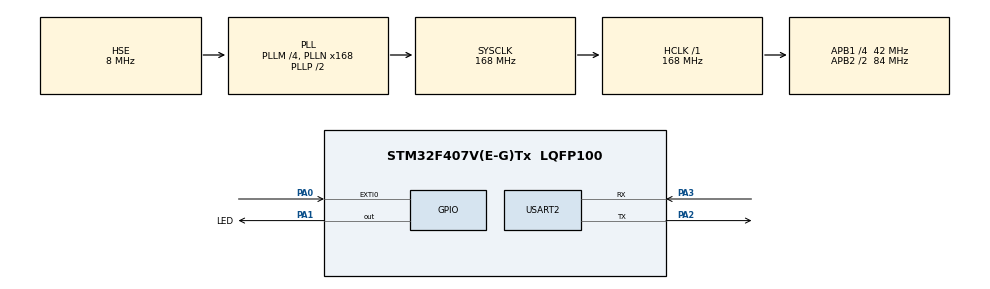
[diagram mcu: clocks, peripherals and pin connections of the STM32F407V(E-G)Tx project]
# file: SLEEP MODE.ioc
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Mcu.Family=STM32F4
Mcu.Name=STM32F407V(E-G)Tx
Mcu.Package=LQFP100
NVIC.EXTI0_IRQn=true\:0\:0\:false\:false\:true\:true\:true
NVIC.PriorityGroup=NVIC_PRIORITYGROUP_4
NVIC.USART2_IRQn=true\:0\:0\:false\:false\:true\:true\:true
PA0-WKUP.GPIO_PuPd=GPIO_PULLDOWN
PA0-WKUP.Signal=GPXTI0
PA1.GPIO_Label=LED
PA1.Signal=GPIO_Output
PA13.Mode=Trace_Asynchronous_SW
PA13.Signal=SYS_JTMS-SWDIO
PA14.Mode=Trace_Asynchronous_SW
PA14.Signal=SYS_JTCK-SWCLK
PA2.Mode=Asynchronous
PA2.Signal=USART2_TX
PA3.Mode=Asynchronous
PA3.Signal=USART2_RX
PB3.Mode=Trace_Asynchronous_SW
PB3.Signal=SYS_JTDO-SWO
PH0-OSC_IN.Mode=HSE-External-Oscillator
PH0-OSC_IN.Signal=RCC_OSC_IN
PH1-OSC_OUT.Mode=HSE-External-Oscillator
PH1-OSC_OUT.Signal=RCC_OSC_OUT
ProjectManager.HeapSize=0x200
ProjectManager.StackSize=0x400
ProjectManager.TargetToolchain=STM32CubeIDE
RCC.48MHZClocksFreq_Value=84000000
RCC.AHBFreq_Value=168000000
RCC.APB1CLKDivider=RCC_HCLK_DIV4
RCC.APB1Freq_Value=42000000
RCC.APB1TimFreq_Value=84000000
RCC.APB2CLKDivider=RCC_HCLK_DIV2
RCC.APB2Freq_Value=84000000
RCC.APB2TimFreq_Value=168000000
RCC.CortexFreq_Value=168000000
RCC.HCLKFreq_Value=168000000
RCC.HSE_VALUE=8000000
RCC.HSI_VALUE=16000000
RCC.LSE_VALUE=32768
RCC.PLLM=4
RCC.PLLN=168
RCC.PLLSourceVirtual=RCC_PLLSOURCE_HSE
RCC.SYSCLKFreq_VALUE=168000000
RCC.SYSCLKSource=RCC_SYSCLKSOURCE_PLLCLK
RCC.VCOOutputFreq_Value=336000000
USART2.VirtualMode=VM_ASYNC
board=custom

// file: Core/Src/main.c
/* USER CODE BEGIN Header */
/**
  ******************************************************************************
  * @file           : main.c
  * @brief          : Main program body
  ******************************************************************************
  * @attention
  *
  * <h2><center>&copy; Copyright (c) 2021 STMicroelectronics.
  * All rights reserved.</center></h2>
  *
  * This software component is licensed by ST under BSD 3-Clause license,
  * the "License"; You may not use this file except in compliance with the
  * License. You may obtain a copy of the License at:
  *                        opensource.org/licenses/BSD-3-Clause
  *
  ******************************************************************************
  */
/* USER CODE END Header */
#include "main.h"

/* USER CODE BEGIN Includes */
#include "string.h"
/* USER CODE END Includes */

UART_HandleTypeDef huart2;

void SystemClock_Config(void);
static void MX_GPIO_Init(void);
static void MX_USART2_UART_Init(void);

/* USER CODE BEGIN 0 */
char *str ={0};
uint8_t Rx_data;

void HAL_UART_RxCpltCallback(UART_HandleTypeDef *huart)
{
	HAL_UART_Receive_IT(&huart2,&Rx_data,1);
}
/* USER CODE END 0 */

int main(void)
{

  /* MCU Configuration--------------------------------------------------------*/

  /* Reset of all peripherals, Initializes the Flash interface and the Systick. */
  HAL_Init();

  /* Configure the system clock */
  SystemClock_Config();

  /* Initialize all configured peripherals */
  MX_GPIO_Init();
  MX_USART2_UART_Init();

  /* Infinite loop */
  /* USER CODE BEGIN WHILE */
  HAL_UART_Receive_IT(&huart2, &Rx_data, 1);
  while (1)
  {
    /* USER CODE END WHILE */

    /* USER CODE BEGIN 3 */
	  str = "Going into Sleep MODE in 5 seconds\r\n";
	  HAL_UART_Transmit(&huart2, (uint8_t *)str,strlen(str),HAL_MAX_DELAY);

	  HAL_GPIO_WritePin(LED_GPIO_Port, LED_Pin, GPIO_PIN_RESET);
	  HAL_Delay(5000);

	  /* 	Suspend Tick increment to prevent wakeup by Systick interrupt
	   * Otherwise the Systick interrupt will wake up the device within 1ms (HAL time base)
	   * */
	  HAL_SuspendTick();
	  HAL_GPIO_WritePin(LED_GPIO_Port, LED_Pin, GPIO_PIN_SET);
	  // Enter the sleep MODE NOW...
	  HAL_PWR_EnterSLEEPMode(PWR_MAINREGULATOR_ON, PWR_SLEEPENTRY_WFI);
	  HAL_ResumeTick();

	  str = "Wake UP from Sleep MODE\r\n";
	  HAL_UART_Transmit(&huart2, (uint8_t *)str, strlen(str), HAL_MAX_DELAY);

	  for(int i=0; i<20; i++)
	  {
		  HAL_GPIO_TogglePin(LED_GPIO_Port, LED_Pin);
		  HAL_Delay(150);
	  }
  }
  /* USER CODE END 3 */
}

void SystemClock_Config(void)
{
  RCC_OscInitTypeDef RCC_OscInitStruct = {0};
  RCC_ClkInitTypeDef RCC_ClkInitStruct = {0};

  /** Configure the main internal regulator output voltage
  */
  __HAL_RCC_PWR_CLK_ENABLE();
  __HAL_PWR_VOLTAGESCALING_CONFIG(PWR_REGULATOR_VOLTAGE_SCALE1);
  /** Initializes the RCC Oscillators according to the specified parameters
  * in the RCC_OscInitTypeDef structure.
  */
  RCC_OscInitStruct.OscillatorType = RCC_OSCILLATORTYPE_HSE;
  RCC_OscInitStruct.HSEState = RCC_HSE_ON;
  RCC_OscInitStruct.PLL.PLLState = RCC_PLL_ON;
  RCC_OscInitStruct.PLL.PLLSource = RCC_PLLSOURCE_HSE;
  RCC_OscInitStruct.PLL.PLLM = 4;
  RCC_OscInitStruct.PLL.PLLN = 168;
  RCC_OscInitStruct.PLL.PLLP = RCC_PLLP_DIV2;
  RCC_OscInitStruct.PLL.PLLQ = 4;
  if (HAL_RCC_OscConfig(&RCC_OscInitStruct) != HAL_OK)
  {
    Error_Handler();
  }
  /** Initializes the CPU, AHB and APB buses clocks
  */
  RCC_ClkInitStruct.ClockType = RCC_CLOCKTYPE_HCLK|RCC_CLOCKTYPE_SYSCLK
                              |RCC_CLOCKTYPE_PCLK1|RCC_CLOCKTYPE_PCLK2;
  RCC_ClkInitStruct.SYSCLKSource = RCC_SYSCLKSOURCE_PLLCLK;
  RCC_ClkInitStruct.AHBCLKDivider = RCC_SYSCLK_DIV1;
  RCC_ClkInitStruct.APB1CLKDivider = RCC_HCLK_DIV4;
  RCC_ClkInitStruct.APB2CLKDivider = RCC_HCLK_DIV2;

  if (HAL_RCC_ClockConfig(&RCC_ClkInitStruct, FLASH_LATENCY_5) != HAL_OK)
  {
    Error_Handler();
  }
}

static void MX_USART2_UART_Init(void)
{

  huart2.Instance = USART2;
  huart2.Init.BaudRate = 115200;
  huart2.Init.WordLength = UART_WORDLENGTH_8B;
  huart2.Init.StopBits = UART_STOPBITS_1;
  huart2.Init.Parity = UART_PARITY_NONE;
  huart2.Init.Mode = UART_MODE_TX_RX;
  huart2.Init.HwFlowCtl = UART_HWCONTROL_NONE;
  huart2.Init.OverSampling = UART_OVERSAMPLING_16;
  if (HAL_UART_Init(&huart2) != HAL_OK)
  {
    Error_Handler();
  }

}

static void MX_GPIO_Init(void)
{
  GPIO_InitTypeDef GPIO_InitStruct = {0};

  /* GPIO Ports Clock Enable */
  __HAL_RCC_GPIOH_CLK_ENABLE();
  __HAL_RCC_GPIOA_CLK_ENABLE();
  __HAL_RCC_GPIOB_CLK_ENABLE();

  /*Configure GPIO pin Output Level */
  HAL_GPIO_WritePin(LED_GPIO_Port, LED_Pin, GPIO_PIN_RESET);

  /*Configure GPIO pin : PA0 */
  GPIO_InitStruct.Pin = GPIO_PIN_0;
  GPIO_InitStruct.Mode = GPIO_MODE_IT_RISING;
  GPIO_InitStruct.Pull = GPIO_PULLDOWN;
  HAL_GPIO_Init(GPIOA, &GPIO_InitStruct);

  /*Configure GPIO pin : LED_Pin */
  GPIO_InitStruct.Pin = LED_Pin;
  GPIO_InitStruct.Mode = GPIO_MODE_OUTPUT_PP;
  GPIO_InitStruct.Pull = GPIO_NOPULL;
  GPIO_InitStruct.Speed = GPIO_SPEED_FREQ_LOW;
  HAL_GPIO_Init(LED_GPIO_Port, &GPIO_InitStruct);

  /* EXTI interrupt init*/
  HAL_NVIC_SetPriority(EXTI0_IRQn, 0, 0);
  HAL_NVIC_EnableIRQ(EXTI0_IRQn);

}

void Error_Handler(void)
{
  __disable_irq();
  while (1)
  {
  }
}

/************************ (C) COPYRIGHT STMicroelectronics *****END OF FILE****/
